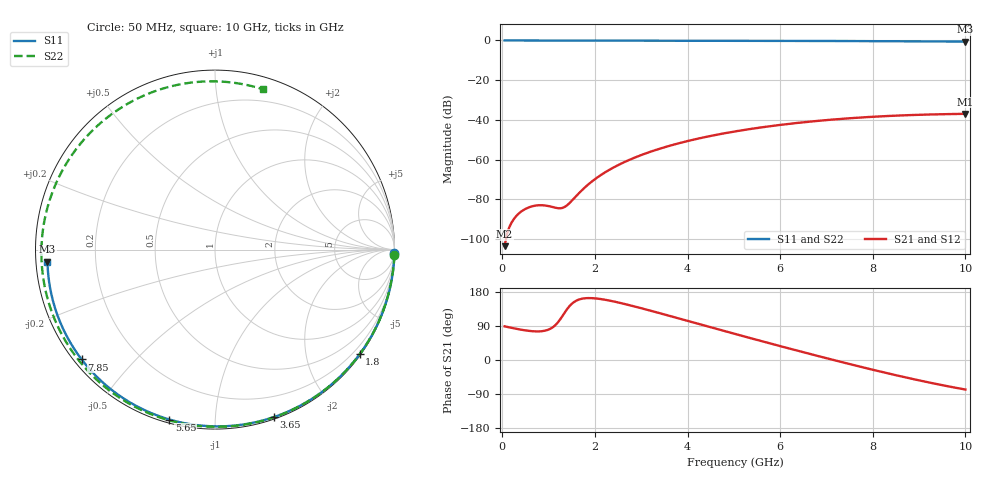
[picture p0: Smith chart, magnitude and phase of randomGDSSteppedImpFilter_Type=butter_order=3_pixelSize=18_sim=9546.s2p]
! freq	dB(S11)	phase(S11)	dB(S12)	phase(S12)
!  dB(S21)	phase(S21)	dB(S22)	phase(S22)
!S-par simulation data
#  GHz  S  DB  R 50
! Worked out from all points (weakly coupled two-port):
!   200 points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, 50 MHz to 10 GHz, reference 50 ohm
!   highest |S21| = -36.93 dB at 10 GHz (marker M1); lowest = -103.5 dB at 50 MHz (marker M2)
!   lowest |S11| = -0.6 dB at 10 GHz (marker M3), VSWR 30.14, Z = 1.66 - j1.8 ohm
!   |S11| at or under -10 dB: nowhere
!   |S22| runs from -0.6 to 0.0 dB; largest |S21 - S12| = 0
!   S11 on the Smith chart (normalised r, x): 50 MHz: open; 1.8 GHz: 0.03, -3.09; 3.65 GHz: 0.02, -1.41; 5.65 GHz: 0.02, -0.77; 7.85 GHz: 0.02, -0.36; 10 GHz: 0.03, -0.04
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0.05  -0.00 -1.0  -103.52 88.8  -103.52 88.8  -0.00 -1.7
0.75  -0.02 -15.1  -83.00 75.4  -83.00 75.4  -0.03 -24.9
1.5  -0.04 -30.0  -80.68 148.3  -80.68 148.3  -0.06 -49.0
1.55  -0.04 -31.0  -79.44 153.1  -79.44 153.1  -0.06 -50.6
1.75  -0.04 -34.9  -74.67 162.3  -74.67 162.3  -0.07 -56.8
1.8  -0.05 -35.9  -73.60 163.1  -73.60 163.1  -0.07 -58.3
2.1  -0.05 -41.7  -68.16 161.3  -68.16 161.3  -0.08 -67.5
2.45  -0.06 -48.4  -63.34 153.3  -63.34 153.3  -0.10 -77.9
2.9  -0.07 -56.8  -58.57 139.9  -58.57 139.9  -0.11 -90.9
3.4  -0.09 -66.0  -54.48 123.6  -54.48 123.6  -0.13 -104.8
3.65  -0.09 -70.6  -52.75 115.2  -52.75 115.2  -0.14 -111.6
4.35  -0.12 -83.0  -48.77 91.5  -48.77 91.5  -0.17 -130.1
5.05  -0.15 -95.0  -45.69 68.0  -45.69 68.0  -0.21 -148.1
5.65  -0.17 -105.0  -43.57 48.1  -43.57 48.1  -0.24 -163.3
6.2  -0.21 -114.0  -41.95 30.2  -41.95 30.2  -0.28 -177.4
6.7  -0.24 -122.1  -40.72 14.2  -40.72 14.2  -0.32 169.7
7.25  -0.28 -130.9  -39.59 -3.0  -39.59 -3.0  -0.37 155.2
7.85  -0.33 -140.5  -38.62 -21.3  -38.62 -21.3  -0.42 138.7
8.35  -0.38 -148.5  -37.99 -35.9  -37.99 -35.9  -0.46 124.4
9.2  -0.47 -162.4  -37.28 -58.9  -37.28 -58.9  -0.54 98.8
9.6  -0.52 -169.1  -37.07 -68.8  -37.07 -68.8  -0.57 86.2
10  -0.58 -175.9  -36.93 -78.0  -36.93 -78.0  -0.61 73.3
